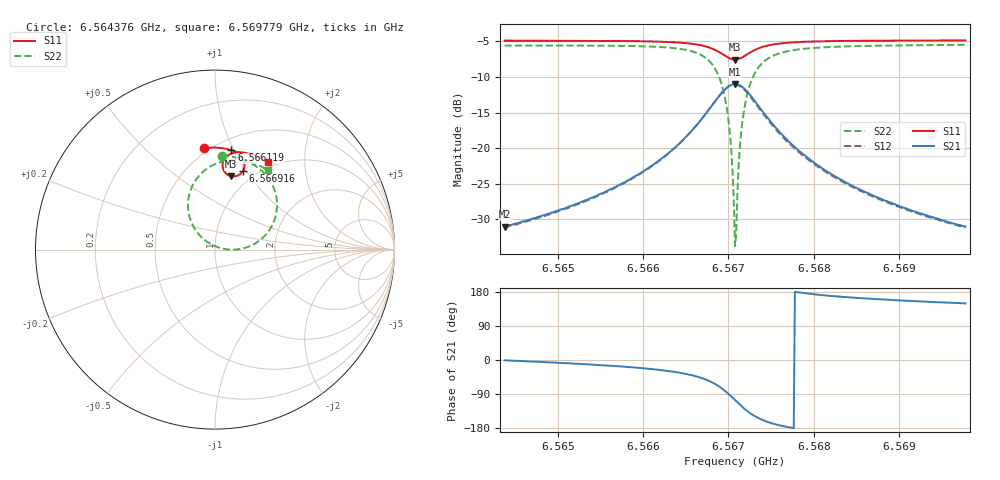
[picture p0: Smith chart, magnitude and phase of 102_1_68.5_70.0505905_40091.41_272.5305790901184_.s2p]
#  HZ  S  RI  R  50.00
! Rohde & Schwarz Vector Network Analyzer
! Rohde-Schwarz,ZNB20-2Port,1311601062101988,3.16
! Created: UTC 3/20/2024, 5:08:14 PM
! freq[Hz]  re:S11  im:S11  re:S21  im:S21  re:S12  im:S12  re:S22  im:S22
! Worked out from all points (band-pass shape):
!   401 points, 6.564376 GHz to 6.569779 GHz, reference 50 ohm
!   highest |S21| = -10.99 dB at 6.567078 GHz (marker M1); lowest = -31.0 dB at 6.564376 GHz (marker M2)
!   |S21| within 3 dB of the highest: 6.566809 GHz to 6.567349 GHz (540.2 kHz wide, 0.00823 % of centre)
!   lowest |S11| = -7.6 dB at 6.567078 GHz (marker M3), VSWR 2.44, Z = 41.4 + j41.1 ohm
!   |S11| at or under -10 dB: nowhere
!   |S22| runs from -33.8 to -5.5 dB; largest |S21 - S12| = 0.013
!   S11 on the Smith chart (normalised r, x): 6.564376 GHz: 0.47, +0.78; 6.566119 GHz: 0.60, +0.98; 6.566916 GHz: 0.87, +0.97; 6.569779 GHz: 0.91, +1.33
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6.5643761e9  -0.0614 0.5658  0.0282 -0.000453  0.0276 -0.000939  0.0383 0.524
6.5652811e9  0.0128 0.5677  0.0413 -0.00787  0.0407 -0.00836  0.1242 0.5106
6.5661186e9  0.091 0.5539  0.0698 -0.0316  0.0688 -0.0323  0.2335 0.4607
6.5661861e9  0.0982 0.5511  0.0738 -0.0358  0.0726 -0.0367  0.2452 0.4519
6.5664833e9  0.1325 0.5318  0.0948 -0.0683  0.0933 -0.0697  0.3039 0.3878
6.5666994e9  0.1576 0.5004  0.1085 -0.1229  0.106 -0.1253  0.3434 0.2826
6.566821e9  0.1641 0.4692  0.1011 -0.1777  0.0967 -0.1809  0.3356 0.178
6.5669155e9  0.155 0.4374  0.0683 -0.2319  0.0608 -0.2348  0.277 0.0764
6.5669695e9  0.1397 0.4204  0.0313 -0.2598  0.0214 -0.2614  0.2088 0.0259
6.5670101e9  0.1232 0.4112  -0.00563 -0.2736  -0.017 -0.2727  0.1415 0.0034
6.5670371e9  0.1104 0.4082  -0.0333 -0.2769  -0.0453 -0.2742  0.0914 -0.000572
6.5670641e9  0.0968 0.4081  -0.0621 -0.2749  -0.0739 -0.2701  0.0406 0.00595
6.5670776e9  0.09 0.4091  -0.0762 -0.2716  -0.0879 -0.2659  0.0158 0.0131
6.5671046e9  0.0771 0.4136  -0.1033 -0.2611  -0.114 -0.2533  -0.0307 0.035
6.5671316e9  0.0655 0.4206  -0.1272 -0.2457  -0.1366 -0.2364  -0.0707 0.0648
6.5671722e9  0.0523 0.4347  -0.1555 -0.2167  -0.162 -0.2058  -0.1155 0.1199
6.5672262e9  0.0432 0.4566  -0.177 -0.1733  -0.18 -0.162  -0.1458 0.1984
6.5672937e9  0.0433 0.482  -0.183 -0.1234  -0.1829 -0.1136  -0.1476 0.2856
6.5675369e9  0.0806 0.5306  -0.1406 -0.0278  -0.1377 -0.0236  -0.051 0.4465
6.5679826e9  0.1438 0.5424  -0.0804 0.00854  -0.0786 0.00995  0.0855 0.4974
6.5688876e9  0.2282 0.5216  -0.039 0.0151  -0.038 0.0154  0.2158 0.4796
6.5697791e9  0.2939 0.4894  -0.0243 0.0144  -0.0236 0.0144  0.2937 0.4435
